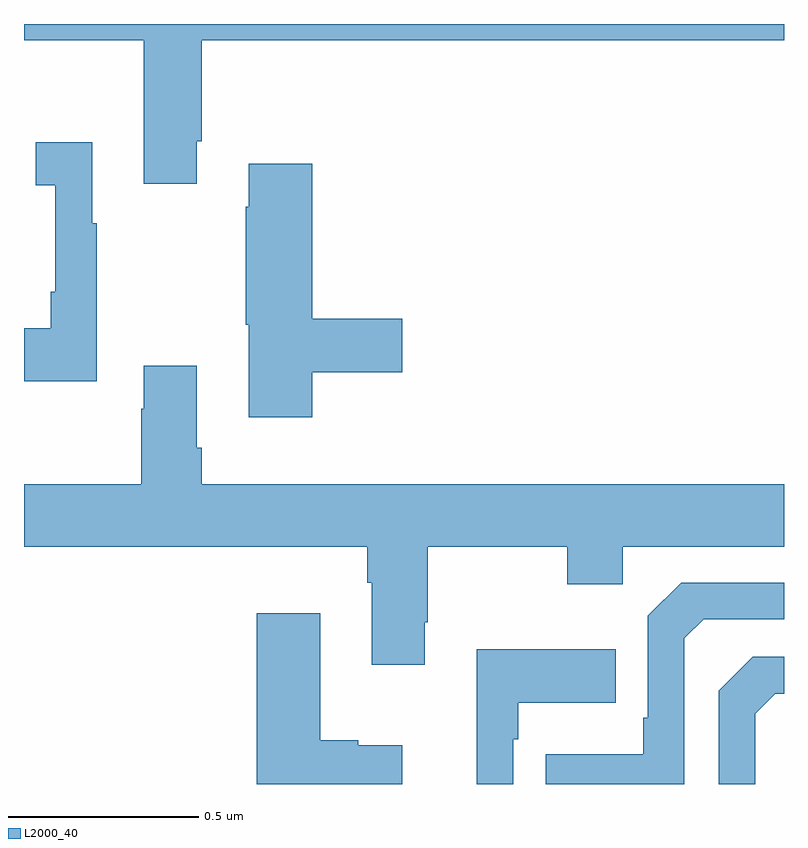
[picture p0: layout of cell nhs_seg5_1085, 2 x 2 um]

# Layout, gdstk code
import gdstk
lib = gdstk.Library(unit=1e-6, precision=1e-09)
def P(c, l, *ps):  # polygons
    for p in ps: c.add(gdstk.Polygon(p, *l))
L2000_40 = (2000, 40)

nhs_seg5_1085 = lib.new_cell('nhs_seg5_1085')
P(nhs_seg5_1085, L2000_40, [(127,860.799),(125,860.799),(125,860.756),(125.315,860.756),(125.315,860.379),(125.455,860.379),(125.455,860.491),(125.468,860.491),(125.468,860.756),(127,860.756)],
  [(125.191,860.275),(125.179,860.275),(125.179,860.488),(125.031,860.488),(125.031,860.375),(125.082,860.375),(125.082,860.095),(125.07,860.095),(125.07,859.999),(125,859.999),(125,859.859),(125.191,859.859)],
  [(125.759,859.882),(125.995,859.882),(125.995,860.024),(125.759,860.024),(125.759,860.431),(125.591,860.431),(125.591,860.318),(125.584,860.318),(125.584,860.007),(125.591,860.007),(125.591,859.764),(125.759,859.764)],
  [(126.055,859.225),(126.063,859.225),(126.063,859.424),(126.43,859.424),(126.43,859.325),(126.576,859.325),(126.576,859.424),(127,859.424),(127,859.588),(125.468,859.588),(125.468,859.684),(125.455,859.684),(125.455,859.9),(125.315,859.9),(125.315,859.787),(125.308,859.787),(125.308,859.588),(125,859.588),(125,859.424),(125.903,859.424),(125.903,859.328),(125.915,859.328),(125.915,859.113),(126.055,859.113)],
  [(126.738,859.182),(126.789,859.233),(127,859.233),(127,859.329),(126.729,859.329),(126.642,859.242),(126.642,858.973),(126.63,858.973),(126.63,858.877),(126.373,858.877),(126.373,858.799),(126.738,858.799)],
  [(125.995,858.901),(125.879,858.901),(125.879,858.914),(125.779,858.914),(125.779,859.249),(125.612,859.249),(125.612,858.799),(125.995,858.799)],
  [(126.288,858.917),(126.301,858.917),(126.301,859.013),(126.557,859.013),(126.557,859.153),(126.191,859.153),(126.191,858.799),(126.288,858.799)],
  [(126.924,858.984),(126.977,859.037),(127,859.037),(127,859.134),(126.918,859.134),(126.828,859.044),(126.828,858.799),(126.924,858.799)])

lib.write_gds('nhs_seg5_1085.gds')
